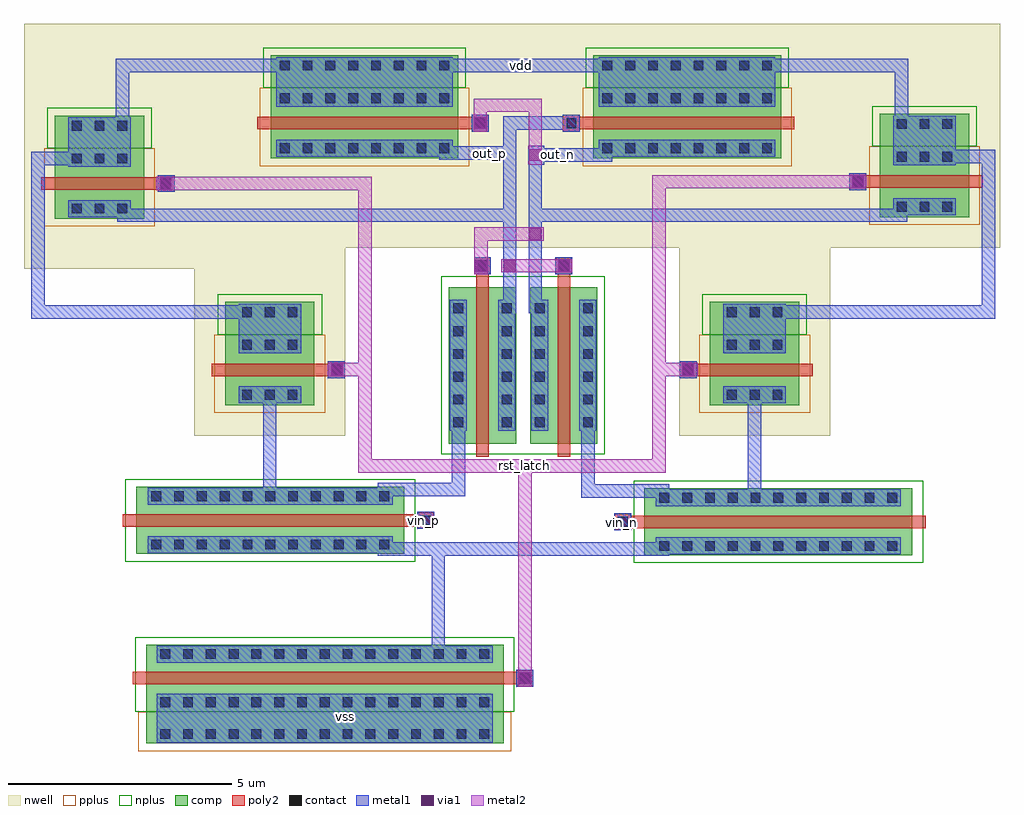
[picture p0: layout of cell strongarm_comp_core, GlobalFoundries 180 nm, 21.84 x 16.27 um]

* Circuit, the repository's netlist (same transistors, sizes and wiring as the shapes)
* Extracted by KLayout with GF180MCU LVS runset on : 19/08/2026 18:47

.SUBCKT strongarm_comp_core out_n out_p rst_latch vdd vin_p vin_n vss
M$1 vdd rst_latch \$10 vdd pfet_03v3 L=0.28U W=2U AS=1.3P AD=1.3P PS=5.3U
+ PD=5.3U
M$2 vdd rst_latch out_p vdd pfet_03v3 L=0.28U W=2U AS=1.3P AD=1.3P PS=5.3U
+ PD=5.3U
M$3 vdd rst_latch \$11 vdd pfet_03v3 L=0.28U W=2U AS=1.3P AD=1.3P PS=5.3U
+ PD=5.3U
M$4 vdd rst_latch out_n vdd pfet_03v3 L=0.28U W=2U AS=1.3P AD=1.3P PS=5.3U
+ PD=5.3U
M$5 \$9 vin_p \$10 vss nfet_03v3 L=0.28U W=6U AS=3.66P AD=3.66P PS=13.22U
+ PD=13.22U
M$6 vdd out_p out_n vdd pfet_03v3 L=0.28U W=4.2U AS=2.73P AD=2.73P PS=9.7U
+ PD=9.7U
M$7 vdd out_n out_p vdd pfet_03v3 L=0.28U W=4.2U AS=2.73P AD=2.73P PS=9.7U
+ PD=9.7U
M$8 \$9 vin_n \$11 vss nfet_03v3 L=0.28U W=6U AS=3.66P AD=3.66P PS=13.22U
+ PD=13.22U
M$9 vss rst_latch \$9 vss nfet_03v3 L=0.28U W=8U AS=4.88P AD=4.88P PS=17.22U
+ PD=17.22U
M$10 \$10 out_n out_p vss nfet_03v3 L=0.28U W=3.5U AS=2.135P AD=2.135P PS=8.22U
+ PD=8.22U
M$11 \$11 out_p out_n vss nfet_03v3 L=0.28U W=3.5U AS=2.135P AD=2.135P PS=8.22U
+ PD=8.22U
.ENDS strongarm_comp_core

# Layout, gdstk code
import gdstk
lib = gdstk.Library(unit=1e-6, precision=1e-09)
def R(c, l, rs):  # rectangles x0, y0, x1, y1
    for r in rs: c.add(gdstk.rectangle(r[:2], r[2:], *l))
def A(c, l, x, y, w, h, nx, ny, dx, dy):  # array of equal rectangles
    R(c, l, [(x+i*dx, y+j*dy, x+i*dx+w, y+j*dy+h) for i in range(nx) for j in range(ny)])
def P(c, l, *ps):  # polygons
    for p in ps: c.add(gdstk.Polygon(p, *l))
nwell = (21, 0)
comp = (22, 0)
poly2 = (30, 0)
pplus = (31, 0)
nplus = (32, 0)
contact = (33, 0)
metal1 = (34, 0)
via1 = (35, 0)
metal2 = (36, 0)

gf180mcu_pfet_l_0_280_w_ = lib.new_cell('gf180mcu.pfet(L=0.280,W=4.000)')

gf180mcu_nfet_l_0_280_w_ = lib.new_cell('gf180mcu.nfet(L=0.280,W=6.000)')

c_gf180mcu_nfet_l_0_280_w_ = lib.new_cell('gf180mcu.nfet(L=0.280,W=4.000)')

strongarm_comp_core = lib.new_cell('strongarm_comp_core')
R(strongarm_comp_core, nwell, [(-7.38,0.48,-4,4.93), (-7.38,0.48,-4,4.17), (3.47,0.48,6.85,4.98), (3.47,0.48,6.85,4.17), (-11.19,4.22,-7.38,9.7), (-11.19,4.65,-7.81,8.34), (-7.38,4.69,10.65,9.7), (7.27,4.69,10.65,8.38), (-6.36,6,-0.78,9.69), (0.86,6,6.44,9.69)])
R(strongarm_comp_core, comp, [(-8.46,-6.4,-0.46,-5.69), (-8.46,-5.69,-0.46,-5.27), (-8.46,-5.27,-0.46,-4.61), (-8.46,-4.61,-0.46,-4.19), (2.69,-2.19,8.69,-1.77), (-8.68,-2.16,-2.68,-1.74), (2.69,-1.77,8.69,-1.11), (-8.68,-1.74,-2.68,-1.08), (2.69,-1.11,8.69,-0.69), (-8.68,-1.08,-2.68,-0.66), (-1.68,0.31,-1.26,3.81), (-1.26,0.31,-0.6,3.81), (-0.6,0.31,-0.18,3.81), (0.14,0.31,0.56,3.81), (0.56,0.31,1.22,3.81), (1.22,0.31,1.64,3.81), (-6.69,1.17,-4.69,1.63), (4.16,1.17,6.16,1.63), (-6.69,1.63,-4.69,2.29), (4.16,1.63,6.16,2.29), (-6.69,2.29,-4.69,2.75), (4.16,2.29,6.16,2.75), (-6.69,2.75,-4.69,3.48), (4.16,2.75,6.16,3.48), (-10.5,5.34,-8.5,5.8), (7.96,5.38,9.96,5.84), (-10.5,5.8,-8.5,6.46), (7.96,5.84,9.96,6.5), (-10.5,6.46,-8.5,6.92), (7.96,6.5,9.96,6.96), (-5.67,6.69,-1.47,7.15), (1.55,6.69,5.75,7.15), (-10.5,6.92,-8.5,7.65), (7.96,6.96,9.96,7.69), (-5.67,7.15,-1.47,7.81), (1.55,7.15,5.75,7.81), (-5.67,7.81,-1.47,8.27), (1.55,7.81,5.75,8.27), (-5.67,8.27,-1.47,9), (1.55,8.27,5.75,9)])
R(strongarm_comp_core, poly2, [(-0.16,-5.12,0.2,-4.76), (-8.76,-5.08,-0.16,-4.8), (2.03,-1.62,2.39,-1.26), (-2.38,-1.59,-2.02,-1.23), (2.39,-1.58,8.99,-1.3), (-8.98,-1.55,-2.38,-1.27), (-1.07,0.01,-0.79,4.11), (0.75,0.01,1.03,4.11), (-4.39,1.77,-4.01,2.15), (3.48,1.77,3.86,2.15), (-6.99,1.82,-4.39,2.1), (3.86,1.82,6.46,2.1), (-1.11,4.11,-0.75,4.47), (0.71,4.11,1.07,4.47), (-8.2,5.94,-7.82,6.32), (7.28,5.98,7.66,6.36), (-10.8,5.99,-8.2,6.27), (7.66,6.03,10.26,6.31), (-1.17,7.29,-0.79,7.67), (0.87,7.29,1.25,7.67), (-5.97,7.34,-1.17,7.62), (1.25,7.34,6.05,7.62)])
R(strongarm_comp_core, pplus, [(-8.63,-6.57,-0.29,-5.69), (-6.93,1,-4.45,2.75), (3.92,1,6.4,2.75), (-10.74,5.17,-8.26,6.92), (7.72,5.21,10.2,6.96), (-5.91,6.52,-1.23,8.27), (1.31,6.52,5.99,8.27)])
R(strongarm_comp_core, nplus, [(-8.7,-5.69,-0.22,-4.02), (2.45,-2.36,8.93,-0.52), (-8.92,-2.33,-2.44,-0.49), (-1.85,0.07,-0.01,4.05), (-0.03,0.07,1.81,4.05), (-6.86,2.75,-4.52,3.65), (3.99,2.75,6.33,3.65), (-10.67,6.92,-8.33,7.82), (7.79,6.96,10.13,7.86), (-5.84,8.27,-1.3,9.17), (1.38,8.27,5.92,9.17)])
A(strongarm_comp_core, contact, -8.14, -6.3, 0.22, 0.22, 15, 2, 0.51, 0.71)
A(strongarm_comp_core, contact, -8.14, -4.51, 0.22, 0.22, 15, 1, 0.51, 0)
A(strongarm_comp_core, contact, 3.03, -2.09, 0.22, 0.22, 11, 2, 0.51, 1.08)
A(strongarm_comp_core, contact, -8.34, -2.06, 0.22, 0.22, 11, 2, 0.51, 1.08)
A(strongarm_comp_core, contact, -1.58, 0.675, 0.22, 0.22, 1, 6, 0, 0.51)
A(strongarm_comp_core, contact, -0.5, 0.675, 0.22, 0.22, 1, 6, 0, 0.51)
A(strongarm_comp_core, contact, 0.24, 0.675, 0.22, 0.22, 1, 6, 0, 0.51)
A(strongarm_comp_core, contact, 1.32, 0.675, 0.22, 0.22, 1, 6, 0, 0.51)
A(strongarm_comp_core, contact, -6.31, 1.29, 0.22, 0.22, 3, 2, 0.51, 1.12)
A(strongarm_comp_core, contact, 4.54, 1.29, 0.22, 0.22, 3, 2, 0.51, 1.12)
A(strongarm_comp_core, contact, -6.31, 3.14, 0.22, 0.22, 3, 1, 0.51, 0)
A(strongarm_comp_core, contact, 4.54, 3.14, 0.22, 0.22, 3, 1, 0.51, 0)
A(strongarm_comp_core, contact, -10.12, 5.46, 0.22, 0.22, 3, 2, 0.51, 1.12)
A(strongarm_comp_core, contact, 8.34, 5.5, 0.22, 0.22, 3, 2, 0.51, 1.12)
A(strongarm_comp_core, contact, -5.465, 6.81, 0.22, 0.22, 8, 2, 0.51, 1.12)
A(strongarm_comp_core, contact, 1.755, 6.81, 0.22, 0.22, 8, 2, 0.51, 1.12)
A(strongarm_comp_core, contact, -10.12, 7.31, 0.22, 0.22, 3, 1, 0.51, 0)
A(strongarm_comp_core, contact, 8.34, 7.35, 0.22, 0.22, 3, 1, 0.51, 0)
A(strongarm_comp_core, contact, -5.465, 8.66, 0.22, 0.22, 8, 1, 0.51, 0)
A(strongarm_comp_core, contact, 1.755, 8.66, 0.22, 0.22, 8, 1, 0.51, 0)
R(strongarm_comp_core, contact, [(-0.09,-5.05,0.13,-4.83), (2.1,-1.55,2.32,-1.33), (-2.31,-1.52,-2.09,-1.3), (-4.31,1.85,-4.09,2.07), (3.56,1.85,3.78,2.07), (-1.04,4.18,-0.82,4.4), (0.78,4.18,1,4.4), (-8.12,6.02,-7.9,6.24), (7.36,6.06,7.58,6.28), (-1.09,7.37,-0.87,7.59), (0.95,7.37,1.17,7.59)])
R(strongarm_comp_core, metal1, [(-8.22,-6.38,-0.7,-5.29), (-8.22,-6.38,-0.7,-6), (-8.22,-5.67,-0.7,-5.29), (-0.17,-5.13,0.21,-4.75), (-8.22,-4.59,-0.7,-4.21), (2.95,-2.17,8.43,-1.79), (-8.42,-2.14,-2.94,-1.76), (2.02,-1.63,2.4,-1.25), (-2.39,-1.6,-2.01,-1.22), (2.95,-1.09,8.43,-0.71), (-8.42,-1.06,-2.94,-0.68), (-1.66,0.595,-1.28,3.525), (-0.58,0.595,-0.2,3.525), (0.16,0.595,0.54,3.525), (1.24,0.595,1.62,3.525), (-6.39,1.21,-4.99,1.59), (4.46,1.21,5.86,1.59), (-4.39,1.77,-4.01,2.15), (3.48,1.77,3.86,2.15), (-6.39,2.33,-4.99,3.44), (-6.39,2.33,-4.99,2.71), (4.46,2.33,5.86,3.44), (4.46,2.33,5.86,2.71), (-6.39,3.06,-4.99,3.44), (4.46,3.06,5.86,3.44), (-1.12,4.1,-0.74,4.48), (0.7,4.1,1.08,4.48), (-10.2,5.38,-8.8,5.76), (8.26,5.42,9.66,5.8), (-8.2,5.94,-7.82,6.32), (7.28,5.98,7.66,6.36), (-10.2,6.5,-8.8,7.61), (-10.2,6.5,-8.8,6.88), (8.26,6.54,9.66,7.65), (8.26,6.54,9.66,6.92), (0.09,6.55,0.45,6.97), (-5.545,6.73,-1.595,7.11), (1.675,6.73,5.625,7.11), (-10.2,7.23,-8.8,7.61), (8.26,7.27,9.66,7.65), (-1.17,7.29,-0.79,7.67), (0.87,7.29,1.25,7.67), (-5.545,7.85,-1.595,8.96), (-5.545,7.85,-1.595,8.23), (1.675,7.85,5.625,8.96), (1.675,7.85,5.625,8.23), (-5.545,8.58,-1.595,8.96), (1.675,8.58,5.625,8.96)])
P(strongarm_comp_core, metal1, [(4.69,6.17),(4.69,6.17),(4.69,6.17),(4.69,6.17)])
R(strongarm_comp_core, via1, [(-0.11,-5.07,0.15,-4.81), (-4.32,1.84,-4.06,2.1), (3.54,1.84,3.8,2.1), (-1.09,4.16,-0.83,4.42), (-0.45,4.16,-0.19,4.42), (0.76,4.16,1.02,4.42), (0.12,4.87,0.38,5.13), (-8.15,6,-7.89,6.26), (7.34,6.04,7.6,6.3), (0.12,6.64,0.38,6.9), (-1.1,7.35,-0.84,7.61)])
strongarm_comp_core.add(gdstk.FlexPath([(-3.27,-2.05),(3.25,-2.05)], 0.3, ends="flush", simple_path=True, layer=34, datatype=0))  # metal1
strongarm_comp_core.add(gdstk.FlexPath([(-1.92,-1.9),(-1.92,-4.59)], 0.3, ends="flush", simple_path=True, layer=34, datatype=0))  # metal1
strongarm_comp_core.add(gdstk.FlexPath([(-3.27,-0.72),(-1.47,-0.72),(-1.47,0.895)], 0.3, ends="flush", simple_path=True, layer=34, datatype=0))  # metal1
strongarm_comp_core.add(gdstk.FlexPath([(3.25,-0.75),(1.43,-0.75),(1.43,0.895)], 0.3, ends="flush", simple_path=True, layer=34, datatype=0))  # metal1
strongarm_comp_core.add(gdstk.FlexPath([(-1.895,6.81),(-0.32,6.81),(-0.32,3.225)], 0.3, ends="flush", simple_path=True, layer=34, datatype=0))  # metal1
strongarm_comp_core.add(gdstk.FlexPath([(0.25,3.225),(0.25,6.77),(1.975,6.77)], 0.3, ends="flush", simple_path=True, layer=34, datatype=0))  # metal1
strongarm_comp_core.add(gdstk.FlexPath([(-0.32,6.66),(-0.32,7.48),(1.25,7.48)], 0.3, ends="flush", simple_path=True, layer=34, datatype=0))  # metal1
strongarm_comp_core.add(gdstk.FlexPath([(5.16,1.59),(5.16,-0.9)], 0.3, ends="flush", simple_path=True, layer=34, datatype=0))  # metal1
strongarm_comp_core.add(gdstk.FlexPath([(-5.69,1.59),(-5.69,-0.87)], 0.3, ends="flush", simple_path=True, layer=34, datatype=0))  # metal1
strongarm_comp_core.add(gdstk.FlexPath([(0.1,5.42),(8.58,5.42)], 0.3, ends="flush", simple_path=True, layer=34, datatype=0))  # metal1
strongarm_comp_core.add(gdstk.FlexPath([(-0.17,5.42),(-9.1,5.42)], 0.3, ends="flush", simple_path=True, layer=34, datatype=0))  # metal1
strongarm_comp_core.add(gdstk.FlexPath([(8.45,7.35),(8.45,8.77),(5.325,8.77)], 0.3, ends="flush", simple_path=True, layer=34, datatype=0))  # metal1
strongarm_comp_core.add(gdstk.FlexPath([(-1.895,8.77),(1.975,8.77)], 0.3, ends="flush", simple_path=True, layer=34, datatype=0))  # metal1
strongarm_comp_core.add(gdstk.FlexPath([(-8.99,7.31),(-8.99,8.77),(-5.17,8.77)], 0.3, ends="flush", simple_path=True, layer=34, datatype=0))  # metal1
strongarm_comp_core.add(gdstk.FlexPath([(-9.9,6.69),(-10.88,6.69),(-10.88,3.25),(-6.09,3.25)], 0.3, ends="flush", simple_path=True, layer=34, datatype=0))  # metal1
strongarm_comp_core.add(gdstk.FlexPath([(9.36,6.73),(10.39,6.73),(10.39,3.25),(5.56,3.25)], 0.3, ends="flush", simple_path=True, layer=34, datatype=0))  # metal1
strongarm_comp_core.add(gdstk.FlexPath([(-0.51,4.29),(1.08,4.29)], 0.3, ends="flush", simple_path=True, layer=36, datatype=0))  # metal2
strongarm_comp_core.add(gdstk.FlexPath([(-0.98,7.29),(-0.98,7.88),(0.25,7.88),(0.25,6.55)], 0.3, ends="flush", simple_path=True, layer=36, datatype=0))  # metal2
strongarm_comp_core.add(gdstk.FlexPath([(-0.96,4.1),(-0.96,4.53),(-0.96,5),(0.44,5)], 0.3, ends="flush", simple_path=True, layer=36, datatype=0))  # metal2
strongarm_comp_core.add(gdstk.FlexPath([(0.02,-5.13),(0.02,-0.19),(3.02,-0.19),(3.02,1.97),(3.89,1.97)], 0.3, ends="flush", simple_path=True, layer=36, datatype=0))  # metal2
strongarm_comp_core.add(gdstk.FlexPath([(0.18,-0.19),(-3.56,-0.19),(-3.56,1.97),(-4.34,1.97),(-4.39,1.97)], 0.3, ends="flush", simple_path=True, layer=36, datatype=0))  # metal2
strongarm_comp_core.add(gdstk.FlexPath([(3.02,1.82),(3.02,6.17),(7.66,6.17)], 0.3, ends="flush", simple_path=True, layer=36, datatype=0))  # metal2
strongarm_comp_core.add(gdstk.FlexPath([(-3.56,1.83),(-3.56,6.13),(-8.23,6.13)], 0.3, ends="flush", simple_path=True, layer=36, datatype=0))  # metal2
strongarm_comp_core.add(gdstk.Reference(gf180mcu_pfet_l_0_280_w_, (0,0)))
strongarm_comp_core.add(gdstk.Reference(gf180mcu_nfet_l_0_280_w_, (0,0)))
strongarm_comp_core.add(gdstk.Reference(c_gf180mcu_nfet_l_0_280_w_, (0,0)))
strongarm_comp_core.add(gdstk.Label('vss', (-4,-5.8), layer=34, texttype=10))
strongarm_comp_core.add(gdstk.Label('out_n', (0.74,6.77), layer=34, texttype=10))
strongarm_comp_core.add(gdstk.Label('out_p', (-0.77,6.81), layer=34, texttype=10))
strongarm_comp_core.add(gdstk.Label('vdd', (-0.05,8.77), layer=34, texttype=10))
strongarm_comp_core.add(gdstk.Label('vin_p', (-2.26,-1.42), layer=34, texttype=10))
strongarm_comp_core.add(gdstk.Label('vin_n', (2.18,-1.45), layer=34, texttype=10))
strongarm_comp_core.add(gdstk.Label('rst_latch', (0,-0.19), layer=36, texttype=10))

lib.write_gds('strongarm_comp_core.gds')
